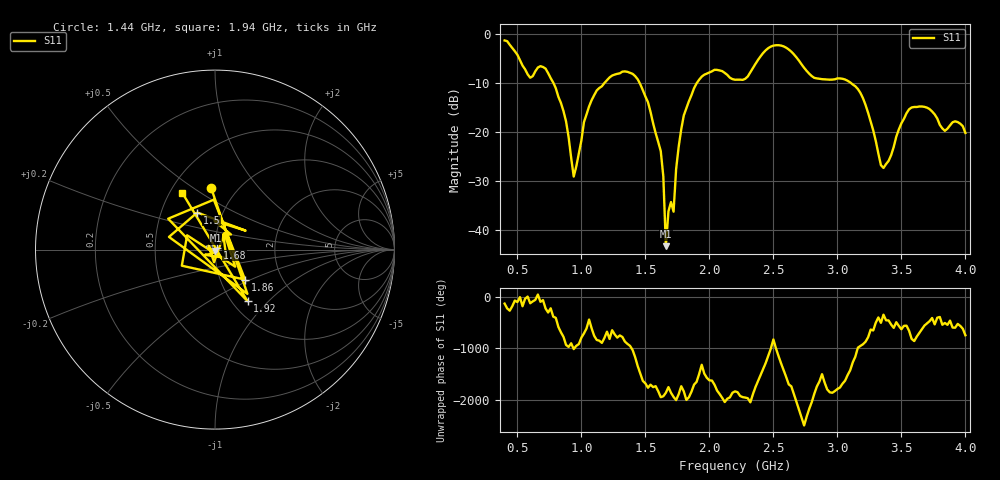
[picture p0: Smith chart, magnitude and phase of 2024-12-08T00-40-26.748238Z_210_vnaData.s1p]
!Created with skrf (http://scikit-rf.org).
# Hz S RI R 50.0
!freq ReS11 ImS11
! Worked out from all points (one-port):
!   181 points, 400 MHz to 4 GHz, reference 50 ohm
!   lowest |S11| = -43.3 dB at 1.66 GHz (marker M1), VSWR 1.01, Z = 50.3 - j0.631 ohm
!   |S11| at or under -10 dB: 780.9 MHz to 1.181 GHz (400.2 MHz wide, 40.8 % of centre); 1.454 GHz to 1.903 GHz (448.6 MHz wide, 26.7 % of centre); 3.104 GHz to end of sweep
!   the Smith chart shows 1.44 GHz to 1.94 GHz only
!   S11 on the Smith chart (normalised r, x): 1.44 GHz: 0.76, +0.59; 1.5 GHz: 0.76, +0.33; 1.68 GHz: 1.02, +0.02; 1.86 GHz: 1.31, -0.46; 1.92 GHz: 1.17, -0.76; 1.94 GHz: 0.58, +0.42
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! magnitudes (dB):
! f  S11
! 400 MHz  -1.4
! 600 MHz  -9.0
! 720 MHz  -7.1
! 860 MHz  -15.8
! 940 MHz  -29.1
! 1.02 GHz  -18.0
! 1.08 GHz  -13.5
! 1.3 GHz  -8.1
! 1.44 GHz  -9.3
! 1.5 GHz  -12.8
! 1.62 GHz  -23.9
! 1.64 GHz  -29.1
! 1.66 GHz  -43.3
! 1.68 GHz  -36.2
! 1.72 GHz  -36.3
! 1.76 GHz  -23.0
! 1.86 GHz  -12.5
! 1.92 GHz  -9.4
! 1.94 GHz  -8.7
! 2.2 GHz  -9.4
! 2.48 GHz  -2.6
! 2.66 GHz  -4.2
! 2.82 GHz  -9.0
! 3.1 GHz  -9.9
! 3.2 GHz  -13.1
! 3.36 GHz  -27.3
! 3.56 GHz  -15.4
! 4 GHz  -20.2
